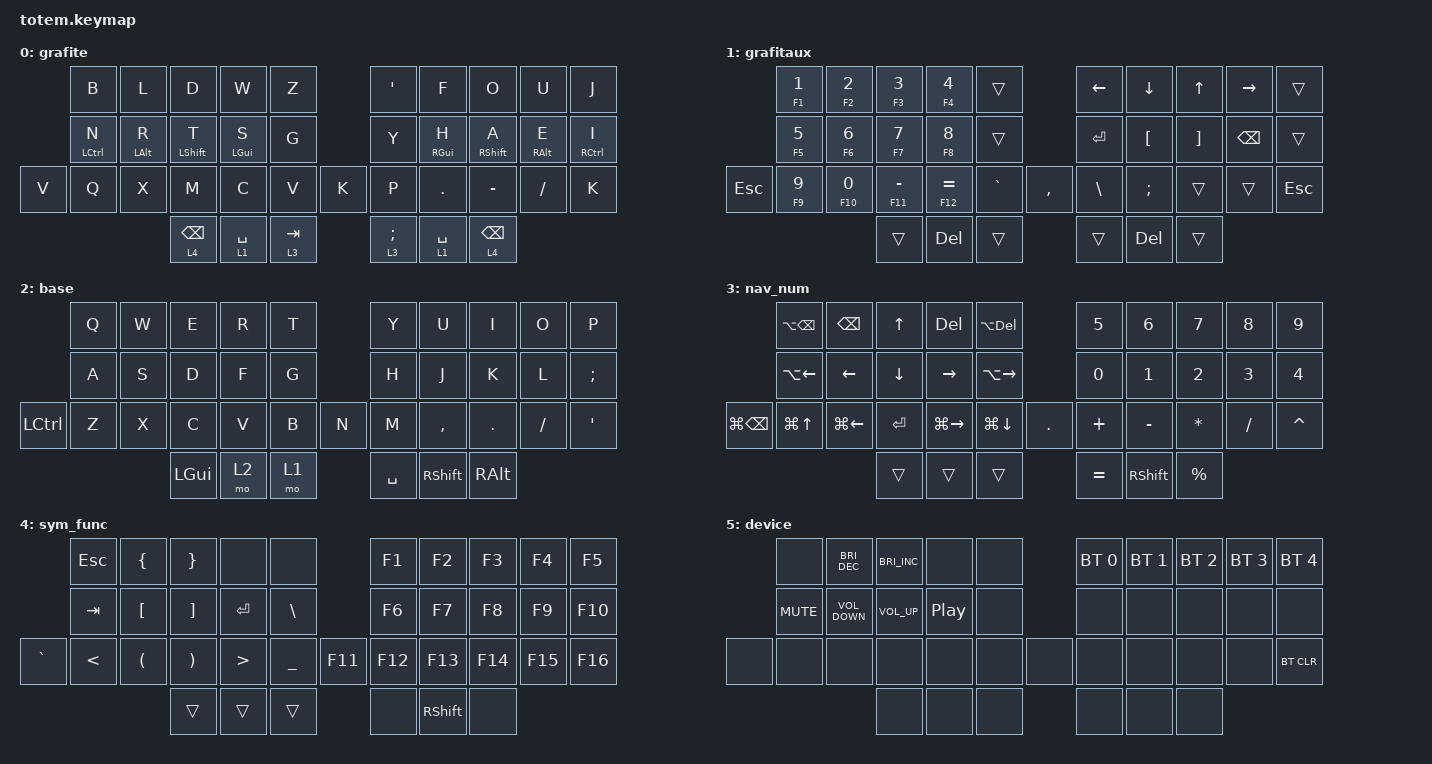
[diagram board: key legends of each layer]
//
//                                                        ▀▀▀▀▀     ▀▀▀▀▀          ▀▀█▀▀
//                                                        ▄▀▀▀▄  ▄  ▄▀▀▀▄  ▄  ▄▀▀▀▄  █  ▄▀▀▀▄
//                                                        █   █  █  █   █  █  █   █  █  █   █
//                                                         ▀▀▀   █   ▀▀▀   █   ▀▀▀   ▀   ▀▀▀
//                                                               █      ▄▄▄█▄▄▄    █   █
//                                                               ▀      █  █  █     █▄█
//                                                             ▀▀▀▀▀    █  █  █      ▀
//                                                                      ▀  ▀  ▀
//
// ▄▄▄▄▄▄▄▄▄▄▄▄▄▄▄▄▄▄▄▄▄▄▄▄▄▄▄▄▄▄▄▄▄▄▄▄▄▄▄▄▄▄▄▄▄▄▄▄▄▄▄▄▄▄▄▄▄▄▄▄▄▄▄▄▄▄▄▄▄▄▄▄▄▄▄▄▄▄▄▄▄▄▄▄▄▄▄▄▄▄▄▄▄▄▄▄▄▄▄▄▄▄▄▄▄▄▄▄▄▄▄▄▄▄▄▄▄▄▄▄▄▄▄▄▄▄▄▄▄▄▄▄▄▄▄▄▄▄▄▄▄▄▄▄▄▄▄▄▄

#include <behaviors.dtsi>
#include <dt-bindings/zmk/bt.h>
#include <dt-bindings/zmk/keys.h>

/ {
    behaviors {
        mt: mod_tap {
            compatible = "zmk,behavior-hold-tap";
            flavor = "tap-preferred";
            tapping-term-ms = <125>;
            bindings = <&kp>, <&kp>;
        };
    };

    keymap {
        compatible = "zmk,keymap";

        grafite {
            bindings = <
                          &kp B        &kp L       &kp D         &kp W       &kp Z     &kp SQT    &kp F       &kp O              &kp U         &kp J
                          &mt LCTRL N  &mt LALT R  &mt LSHIFT T  &mt LGUI S  &kp G     &kp Y      &mt RGUI H  &mt RSHIFT A      &mt RALT E     &mt RCTRL I
            &kp V         &kp Q        &kp X       &kp M         &kp C       &kp V &kp K  &kp P       &kp DOT           &kp MINUS      &kp FSLH     &kp K
                                                   &lt 4 BSPC   &lt 1 SPACE  &lt 3 TAB    &lt 3 SEMICOLON  &lt 1 SPACE  &lt 4 BSPC
            >;
        };

        grafitaux {
            bindings = <
                    &mt F1 N1 &mt F2  N2  &mt F3 N3      &mt F4 N4     &trans     &kp LEFT   &kp DOWN  &kp UP    &kp RIGHT  &trans
                    &mt F5 N5 &mt F6  N6  &mt F7 N7      &mt F8 N8     &trans     &kp ENTER  &kp LBKT  &kp RBKT  &kp BSPC   &trans
            &kp ESC &mt F9 N9 &mt F10 N0  &mt F11 MINUS  &mt F12 EQUAL &kp GRAVE     &kp COMMA     &kp BSLH  &kp SEMICOLON    &trans     &trans  &kp ESC
                                              &trans  &kp DEL   &trans           &trans  &kp DEL  &trans
            >;
        };


        base {
            bindings = <
           &kp Q  &kp W  &kp E     &kp R  &kp T    &kp Y      &kp U            &kp I          &kp O    &kp P
           &kp A  &kp S  &kp D     &kp F  &kp G    &kp H      &kp J            &kp K          &kp L    &kp SEMI
&kp LCTRL  &kp Z  &kp X  &kp C     &kp V  &kp B    &kp N      &kp M            &kp COMMA      &kp DOT  &kp FSLH  &kp APOS
                         &kp LGUI  &mo 2  &mo 1    &kp SPACE  &kp RIGHT_SHIFT  &kp RIGHT_ALT
            >;
        };

        nav_num {
            bindings = <
                   &kp LA(BACKSPACE)   &kp BACKSPACE  &kp UP     &kp DELETE     &kp LA(DELETE)        &kp N5      &kp N6           &kp N7       &kp N8    &kp N9
                   &kp LA(LEFT_ARROW)  &kp LEFT       &kp DOWN   &kp RIGHT      &kp LA(RIGHT)         &kp N0      &kp N1           &kp N2       &kp N3    &kp N4
&kp LG(BACKSPACE)  &kp LG(UP_ARROW)    &kp LG(LEFT)   &kp ENTER  &kp LG(RIGHT)  &kp LG(DOWN_ARROW)    &kp PERIOD  &kp PLUS         &kp MINUS    &kp STAR  &kp FSLH  &kp CARET
                                                      &trans     &trans         &trans                &kp EQUAL   &kp RIGHT_SHIFT  &kp PERCENT
            >;
        };

        sym_func {
            bindings = <
           &kp ESC        &kp LEFT_BRACE        &kp RIGHT_BRACE        &none             &none             &kp F1   &kp F2           &kp F3   &kp F4   &kp F5
           &kp TAB        &kp LBKT              &kp RBKT               &kp ENTER         &kp BSLH          &kp F6   &kp F7           &kp F8   &kp F9   &kp F10
&kp GRAVE  &kp LESS_THAN  &kp LEFT_PARENTHESIS  &kp RIGHT_PARENTHESIS  &kp GREATER_THAN  &kp UNDERSCORE    &kp F11  &kp F12          &kp F13  &kp F14  &kp F15  &kp F16
                                                &trans                 &trans            &trans            &none    &kp RIGHT_SHIFT  &none
            >;
        };

        device {
            bindings = <
       &none       &kp C_BRIGHTNESS_DEC  &kp C_BRIGHTNESS_INC  &none             &none    &bt BT_SEL 0  &bt BT_SEL 1  &bt BT_SEL 2  &bt BT_SEL 3  &bt BT_SEL 4
       &kp K_MUTE  &kp C_VOLUME_DOWN     &kp C_VOLUME_UP       &kp C_PLAY_PAUSE  &none    &none         &none         &none         &none         &none
&none  &none       &none                 &none                 &none             &none    &none         &none         &none         &none         &none         &bt BT_CLR
                                         &none                 &none             &none    &none         &none         &none
            >;
        };

        extra1 { status = "reserved"; };

        extra2 { status = "reserved"; };

        extra3 { status = "reserved"; };
    };

    conditional_layers {
        compatible = "zmk,conditional-layers";

        device {
            if-layers = <1 2>;
            then-layer = <3>;
        };
    };
};
